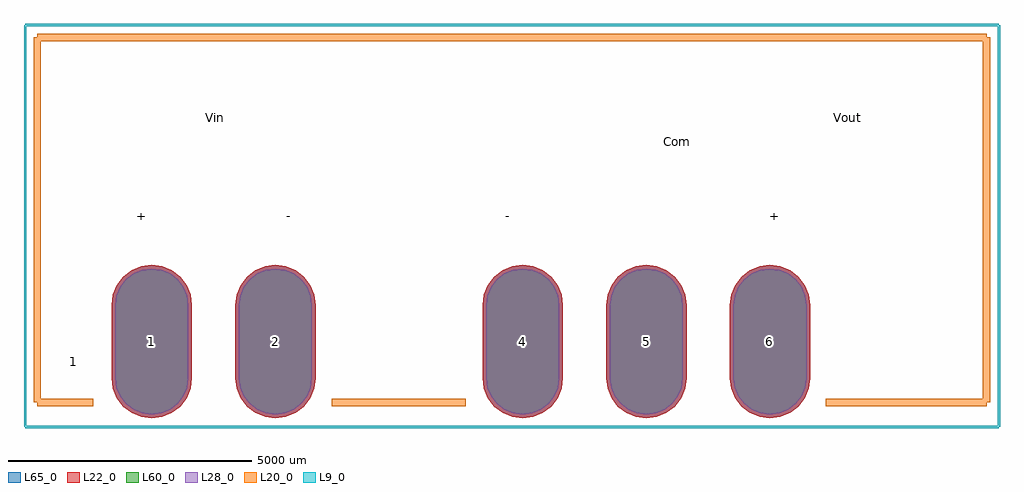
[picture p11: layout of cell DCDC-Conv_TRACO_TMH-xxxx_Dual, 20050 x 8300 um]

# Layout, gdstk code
import gdstk
lib = gdstk.Library(unit=1e-6, precision=1e-09)
def P(c, l, *ps):  # polygons
    for p in ps: c.add(gdstk.Polygon(p, *l))
L9_0 = (9, 0)
L20_0 = (20, 0)
L22_0 = (22, 0)
L28_0 = (28, 0)
L60_0 = (60, 0)
L65_0 = (65, 0)

dcdc_conv_traco_tmh_xxxx = lib.new_cell('DCDC-Conv_TRACO_TMH-xxxx_Dual')
P(dcdc_conv_traco_tmh_xxxx, L22_0, [(12700,-1574.87),(12913.673,-1546.739),(13112.785,-1464.265),(13283.766,-1333.066),(13414.965,-1162.085),(13497.439,-962.973),(13525.57,-749.3),(13525.57,749.3),(13497.439,962.973),(13414.965,1162.085),(13283.766,1333.066),(13112.785,1464.265),(12913.673,1546.739),(12700,1574.87),(12486.327,1546.739),(12287.215,1464.265),(12116.234,1333.066),(11985.035,1162.085),(11902.561,962.973),(11874.43,749.3),(11874.43,-749.3),(11902.561,-962.973),(11985.035,-1162.085),(12116.234,-1333.066),(12287.215,-1464.265),(12486.327,-1546.739)],
  [(10160,-1574.87),(10373.673,-1546.739),(10572.785,-1464.265),(10743.766,-1333.066),(10874.965,-1162.085),(10957.439,-962.973),(10985.57,-749.3),(10985.57,749.3),(10957.439,962.973),(10874.965,1162.085),(10743.766,1333.066),(10572.785,1464.265),(10373.673,1546.739),(10160,1574.87),(9946.327,1546.739),(9747.215,1464.265),(9576.234,1333.066),(9445.035,1162.085),(9362.561,962.973),(9334.43,749.3),(9334.43,-749.3),(9362.561,-962.973),(9445.035,-1162.085),(9576.234,-1333.066),(9747.215,-1464.265),(9946.327,-1546.739)],
  [(7620,-1574.87),(7833.673,-1546.739),(8032.785,-1464.265),(8203.766,-1333.066),(8334.965,-1162.085),(8417.439,-962.973),(8445.57,-749.3),(8445.57,749.3),(8417.439,962.973),(8334.965,1162.085),(8203.766,1333.066),(8032.785,1464.265),(7833.673,1546.739),(7620,1574.87),(7406.327,1546.739),(7207.215,1464.265),(7036.234,1333.066),(6905.035,1162.085),(6822.561,962.973),(6794.43,749.3),(6794.43,-749.3),(6822.561,-962.973),(6905.035,-1162.085),(7036.234,-1333.066),(7207.215,-1464.265),(7406.327,-1546.739)],
  [(2540,-1574.87),(2753.673,-1546.739),(2952.785,-1464.265),(3123.766,-1333.066),(3254.965,-1162.085),(3337.439,-962.973),(3365.57,-749.3),(3365.57,749.3),(3337.439,962.973),(3254.965,1162.085),(3123.766,1333.066),(2952.785,1464.265),(2753.673,1546.739),(2540,1574.87),(2326.327,1546.739),(2127.215,1464.265),(1956.234,1333.066),(1825.035,1162.085),(1742.561,962.973),(1714.43,749.3),(1714.43,-749.3),(1742.561,-962.973),(1825.035,-1162.085),(1956.234,-1333.066),(2127.215,-1464.265),(2326.327,-1546.739)],
  [(0,-1574.87),(213.673,-1546.739),(412.785,-1464.265),(583.766,-1333.066),(714.965,-1162.085),(797.439,-962.973),(825.57,-749.3),(825.57,749.3),(797.439,962.973),(714.965,1162.085),(583.766,1333.066),(412.785,1464.265),(213.673,1546.739),(0,1574.87),(-213.673,1546.739),(-412.785,1464.265),(-583.766,1333.066),(-714.965,1162.085),(-797.439,962.973),(-825.57,749.3),(-825.57,-749.3),(-797.439,-962.973),(-714.965,-1162.085),(-583.766,-1333.066),(-412.785,-1464.265),(-213.673,-1546.739)])
P(dcdc_conv_traco_tmh_xxxx, L28_0, [(12700,-1499.87),(12894.262,-1474.295),(13075.285,-1399.313),(13230.733,-1280.033),(13350.013,-1124.585),(13424.995,-943.562),(13450.57,-749.3),(13450.57,749.3),(13424.995,943.562),(13350.013,1124.585),(13230.733,1280.033),(13075.285,1399.313),(12894.262,1474.295),(12700,1499.87),(12505.738,1474.295),(12324.715,1399.313),(12169.267,1280.033),(12049.987,1124.585),(11975.005,943.562),(11949.43,749.3),(11949.43,-749.3),(11975.005,-943.562),(12049.987,-1124.585),(12169.267,-1280.033),(12324.715,-1399.313),(12505.738,-1474.295)],
  [(10160,-1499.87),(10354.262,-1474.295),(10535.285,-1399.313),(10690.733,-1280.033),(10810.013,-1124.585),(10884.995,-943.562),(10910.57,-749.3),(10910.57,749.3),(10884.995,943.562),(10810.013,1124.585),(10690.733,1280.033),(10535.285,1399.313),(10354.262,1474.295),(10160,1499.87),(9965.738,1474.295),(9784.715,1399.313),(9629.267,1280.033),(9509.987,1124.585),(9435.005,943.562),(9409.43,749.3),(9409.43,-749.3),(9435.005,-943.562),(9509.987,-1124.585),(9629.267,-1280.033),(9784.715,-1399.313),(9965.738,-1474.295)],
  [(7620,-1499.87),(7814.262,-1474.295),(7995.285,-1399.313),(8150.733,-1280.033),(8270.013,-1124.585),(8344.995,-943.562),(8370.57,-749.3),(8370.57,749.3),(8344.995,943.562),(8270.013,1124.585),(8150.733,1280.033),(7995.285,1399.313),(7814.262,1474.295),(7620,1499.87),(7425.738,1474.295),(7244.715,1399.313),(7089.267,1280.033),(6969.987,1124.585),(6895.005,943.562),(6869.43,749.3),(6869.43,-749.3),(6895.005,-943.562),(6969.987,-1124.585),(7089.267,-1280.033),(7244.715,-1399.313),(7425.738,-1474.295)],
  [(2540,-1499.87),(2734.262,-1474.295),(2915.285,-1399.313),(3070.733,-1280.033),(3190.013,-1124.585),(3264.995,-943.562),(3290.57,-749.3),(3290.57,749.3),(3264.995,943.562),(3190.013,1124.585),(3070.733,1280.033),(2915.285,1399.313),(2734.262,1474.295),(2540,1499.87),(2345.738,1474.295),(2164.715,1399.313),(2009.267,1280.033),(1889.987,1124.585),(1815.005,943.562),(1789.43,749.3),(1789.43,-749.3),(1815.005,-943.562),(1889.987,-1124.585),(2009.267,-1280.033),(2164.715,-1399.313),(2345.738,-1474.295)],
  [(0,-1499.87),(194.262,-1474.295),(375.285,-1399.313),(530.733,-1280.033),(650.013,-1124.585),(724.995,-943.562),(750.57,-749.3),(750.57,749.3),(724.995,943.562),(650.013,1124.585),(530.733,1280.033),(375.285,1399.313),(194.262,1474.295),(0,1499.87),(-194.262,1474.295),(-375.285,1399.313),(-530.733,1280.033),(-650.013,1124.585),(-724.995,943.562),(-750.57,749.3),(-750.57,-749.3),(-724.995,-943.562),(-650.013,-1124.585),(-530.733,-1280.033),(-375.285,-1399.313),(-194.262,-1474.295)])
P(dcdc_conv_traco_tmh_xxxx, L60_0, [(12700,-1499.87),(12894.262,-1474.295),(13075.285,-1399.313),(13230.733,-1280.033),(13350.013,-1124.585),(13424.995,-943.562),(13450.57,-749.3),(13450.57,749.3),(13424.995,943.562),(13350.013,1124.585),(13230.733,1280.033),(13075.285,1399.313),(12894.262,1474.295),(12700,1499.87),(12505.738,1474.295),(12324.715,1399.313),(12169.267,1280.033),(12049.987,1124.585),(11975.005,943.562),(11949.43,749.3),(11949.43,-749.3),(11975.005,-943.562),(12049.987,-1124.585),(12169.267,-1280.033),(12324.715,-1399.313),(12505.738,-1474.295)],
  [(10160,-1499.87),(10354.262,-1474.295),(10535.285,-1399.313),(10690.733,-1280.033),(10810.013,-1124.585),(10884.995,-943.562),(10910.57,-749.3),(10910.57,749.3),(10884.995,943.562),(10810.013,1124.585),(10690.733,1280.033),(10535.285,1399.313),(10354.262,1474.295),(10160,1499.87),(9965.738,1474.295),(9784.715,1399.313),(9629.267,1280.033),(9509.987,1124.585),(9435.005,943.562),(9409.43,749.3),(9409.43,-749.3),(9435.005,-943.562),(9509.987,-1124.585),(9629.267,-1280.033),(9784.715,-1399.313),(9965.738,-1474.295)],
  [(7620,-1499.87),(7814.262,-1474.295),(7995.285,-1399.313),(8150.733,-1280.033),(8270.013,-1124.585),(8344.995,-943.562),(8370.57,-749.3),(8370.57,749.3),(8344.995,943.562),(8270.013,1124.585),(8150.733,1280.033),(7995.285,1399.313),(7814.262,1474.295),(7620,1499.87),(7425.738,1474.295),(7244.715,1399.313),(7089.267,1280.033),(6969.987,1124.585),(6895.005,943.562),(6869.43,749.3),(6869.43,-749.3),(6895.005,-943.562),(6969.987,-1124.585),(7089.267,-1280.033),(7244.715,-1399.313),(7425.738,-1474.295)],
  [(2540,-1499.87),(2734.262,-1474.295),(2915.285,-1399.313),(3070.733,-1280.033),(3190.013,-1124.585),(3264.995,-943.562),(3290.57,-749.3),(3290.57,749.3),(3264.995,943.562),(3190.013,1124.585),(3070.733,1280.033),(2915.285,1399.313),(2734.262,1474.295),(2540,1499.87),(2345.738,1474.295),(2164.715,1399.313),(2009.267,1280.033),(1889.987,1124.585),(1815.005,943.562),(1789.43,749.3),(1789.43,-749.3),(1815.005,-943.562),(1889.987,-1124.585),(2009.267,-1280.033),(2164.715,-1399.313),(2345.738,-1474.295)],
  [(0,-1499.87),(194.262,-1474.295),(375.285,-1399.313),(530.733,-1280.033),(650.013,-1124.585),(724.995,-943.562),(750.57,-749.3),(750.57,749.3),(724.995,943.562),(650.013,1124.585),(530.733,1280.033),(375.285,1399.313),(194.262,1474.295),(0,1499.87),(-194.262,1474.295),(-375.285,1399.313),(-530.733,1280.033),(-650.013,1124.585),(-724.995,943.562),(-750.57,749.3),(-750.57,-749.3),(-724.995,-943.562),(-650.013,-1124.585),(-530.733,-1280.033),(-375.285,-1399.313),(-194.262,-1474.295)])
P(dcdc_conv_traco_tmh_xxxx, L65_0, [(12700,-1574.87),(12913.673,-1546.739),(13112.785,-1464.265),(13283.766,-1333.066),(13414.965,-1162.085),(13497.439,-962.973),(13525.57,-749.3),(13525.57,749.3),(13497.439,962.973),(13414.965,1162.085),(13283.766,1333.066),(13112.785,1464.265),(12913.673,1546.739),(12700,1574.87),(12486.327,1546.739),(12287.215,1464.265),(12116.234,1333.066),(11985.035,1162.085),(11902.561,962.973),(11874.43,749.3),(11874.43,-749.3),(11902.561,-962.973),(11985.035,-1162.085),(12116.234,-1333.066),(12287.215,-1464.265),(12486.327,-1546.739)],
  [(10160,-1574.87),(10373.673,-1546.739),(10572.785,-1464.265),(10743.766,-1333.066),(10874.965,-1162.085),(10957.439,-962.973),(10985.57,-749.3),(10985.57,749.3),(10957.439,962.973),(10874.965,1162.085),(10743.766,1333.066),(10572.785,1464.265),(10373.673,1546.739),(10160,1574.87),(9946.327,1546.739),(9747.215,1464.265),(9576.234,1333.066),(9445.035,1162.085),(9362.561,962.973),(9334.43,749.3),(9334.43,-749.3),(9362.561,-962.973),(9445.035,-1162.085),(9576.234,-1333.066),(9747.215,-1464.265),(9946.327,-1546.739)],
  [(7620,-1574.87),(7833.673,-1546.739),(8032.785,-1464.265),(8203.766,-1333.066),(8334.965,-1162.085),(8417.439,-962.973),(8445.57,-749.3),(8445.57,749.3),(8417.439,962.973),(8334.965,1162.085),(8203.766,1333.066),(8032.785,1464.265),(7833.673,1546.739),(7620,1574.87),(7406.327,1546.739),(7207.215,1464.265),(7036.234,1333.066),(6905.035,1162.085),(6822.561,962.973),(6794.43,749.3),(6794.43,-749.3),(6822.561,-962.973),(6905.035,-1162.085),(7036.234,-1333.066),(7207.215,-1464.265),(7406.327,-1546.739)],
  [(2540,-1574.87),(2753.673,-1546.739),(2952.785,-1464.265),(3123.766,-1333.066),(3254.965,-1162.085),(3337.439,-962.973),(3365.57,-749.3),(3365.57,749.3),(3337.439,962.973),(3254.965,1162.085),(3123.766,1333.066),(2952.785,1464.265),(2753.673,1546.739),(2540,1574.87),(2326.327,1546.739),(2127.215,1464.265),(1956.234,1333.066),(1825.035,1162.085),(1742.561,962.973),(1714.43,749.3),(1714.43,-749.3),(1742.561,-962.973),(1825.035,-1162.085),(1956.234,-1333.066),(2127.215,-1464.265),(2326.327,-1546.739)],
  [(0,-1574.87),(213.673,-1546.739),(412.785,-1464.265),(583.766,-1333.066),(714.965,-1162.085),(797.439,-962.973),(825.57,-749.3),(825.57,749.3),(797.439,962.973),(714.965,1162.085),(583.766,1333.066),(412.785,1464.265),(213.673,1546.739),(0,1574.87),(-213.673,1546.739),(-412.785,1464.265),(-583.766,1333.066),(-714.965,1162.085),(-797.439,962.973),(-825.57,749.3),(-825.57,-749.3),(-797.439,-962.973),(-714.965,-1162.085),(-583.766,-1333.066),(-412.785,-1464.265),(-213.673,-1546.739)])
dcdc_conv_traco_tmh_xxxx.add(gdstk.FlexPath([(-2352.04,6248.4),(-2352.04,-1249.68)], 149.998, ends="flush", simple_path=True, layer=20, datatype=0))  # L20_0
dcdc_conv_traco_tmh_xxxx.add(gdstk.FlexPath([(17150.1,6248.4),(-2352.04,6248.4)], 149.998, ends="flush", simple_path=True, layer=20, datatype=0))  # L20_0
dcdc_conv_traco_tmh_xxxx.add(gdstk.FlexPath([(17150.1,-1249.68),(17150.1,6248.4)], 149.998, ends="flush", simple_path=True, layer=20, datatype=0))  # L20_0
dcdc_conv_traco_tmh_xxxx.add(gdstk.FlexPath([(17150.1,-1249.68),(13848.1,-1249.68)], 149.998, ends="flush", simple_path=True, layer=20, datatype=0))  # L20_0
dcdc_conv_traco_tmh_xxxx.add(gdstk.FlexPath([(6449.06,-1249.68),(3698.24,-1249.68)], 149.998, ends="flush", simple_path=True, layer=20, datatype=0))  # L20_0
dcdc_conv_traco_tmh_xxxx.add(gdstk.FlexPath([(-1201.42,-1249.68),(-2352.04,-1249.68)], 149.998, ends="flush", simple_path=True, layer=20, datatype=0))  # L20_0
dcdc_conv_traco_tmh_xxxx.add(gdstk.FlexPath([(-2600,-1750),(17400,-1750)], 50, ends="flush", simple_path=True, layer=9, datatype=0))  # L9_0
dcdc_conv_traco_tmh_xxxx.add(gdstk.FlexPath([(-2600,6500),(17400,6500)], 50, ends="flush", simple_path=True, layer=9, datatype=0))  # L9_0
dcdc_conv_traco_tmh_xxxx.add(gdstk.FlexPath([(17400,6500),(17400,-1750)], 50, ends="flush", simple_path=True, layer=9, datatype=0))  # L9_0
dcdc_conv_traco_tmh_xxxx.add(gdstk.FlexPath([(-2600,6500),(-2600,-1750)], 50, ends="flush", simple_path=True, layer=9, datatype=0))  # L9_0
dcdc_conv_traco_tmh_xxxx.add(gdstk.Label('6', (12700,0), layer=28, texttype=0))
dcdc_conv_traco_tmh_xxxx.add(gdstk.Label('5', (10160,0), layer=28, texttype=0))
dcdc_conv_traco_tmh_xxxx.add(gdstk.Label('4', (7620,0), layer=28, texttype=0))
dcdc_conv_traco_tmh_xxxx.add(gdstk.Label('2', (2540,0), layer=28, texttype=0))
dcdc_conv_traco_tmh_xxxx.add(gdstk.Label('1', (0,0), layer=28, texttype=0))
dcdc_conv_traco_tmh_xxxx.add(gdstk.Label('+', (-201,2600), layer=9, texttype=0))
dcdc_conv_traco_tmh_xxxx.add(gdstk.Label('-', (2798.74,2600), layer=9, texttype=0))
dcdc_conv_traco_tmh_xxxx.add(gdstk.Label('-', (7299.62,2600), layer=9, texttype=0))
dcdc_conv_traco_tmh_xxxx.add(gdstk.Label('+', (12801.26,2600), layer=9, texttype=0))
dcdc_conv_traco_tmh_xxxx.add(gdstk.Label('Com', (10799.74,4101.14), layer=9, texttype=0))
dcdc_conv_traco_tmh_xxxx.add(gdstk.Label('Vin', (1300.14,4598.98), layer=9, texttype=0))
dcdc_conv_traco_tmh_xxxx.add(gdstk.Label('Vout', (14299.86,4598.98), layer=9, texttype=0))
dcdc_conv_traco_tmh_xxxx.add(gdstk.Label('1', (-1600,-400), layer=9, texttype=0))
dcdc_conv_traco_tmh_xxxx.add(gdstk.Label('type', (0,8050), layer=9, texttype=0))
dcdc_conv_traco_tmh_xxxx.add(gdstk.Label('devicename', (0,10050), layer=9, texttype=0))

lib.write_gds('DCDC-Conv_TRACO_TMH-xxxx_Dual.gds')
